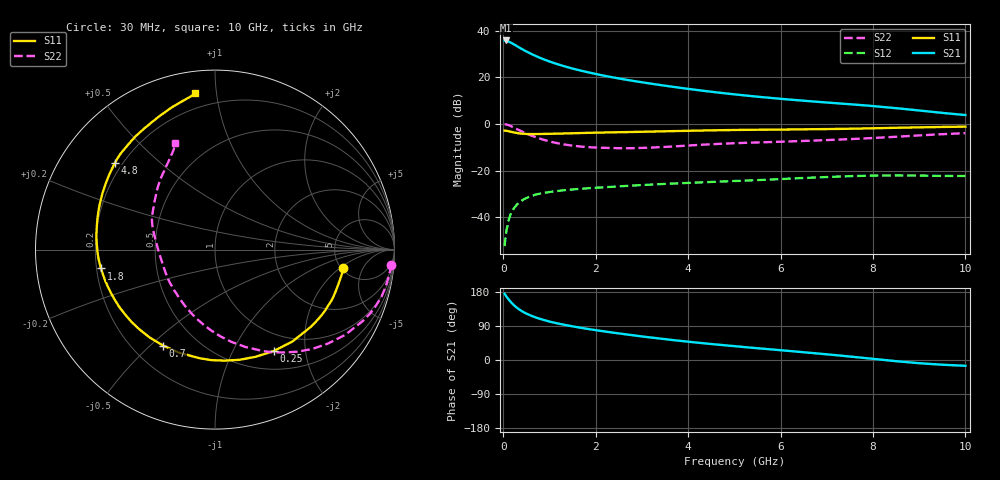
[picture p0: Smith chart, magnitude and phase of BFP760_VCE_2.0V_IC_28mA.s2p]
! Infineon Technologies  Discrete & RF Semiconductors
! BFP760
! VCE =  2.0 V,  IC =  28 mA
! Common Emitter S-Parameters:  Nov 2012
# GHz  S  MA  R  50
!  f  S11  S21  S12  S22
! GHz  MAG  ANG  MAG  ANG  MAG  ANG  MAG  ANG
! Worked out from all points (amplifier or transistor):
!   99 points, 30 MHz to 10 GHz, reference 50 ohm
!   highest |S21| = 35.8 dB at 50 MHz (marker M1)
!   |S21| within 3 dB of that: start of sweep to 344 MHz
!   unconditionally stable (mu >= 1): 4.268 GHz to end of sweep
!   at 350 MHz: K = 0.26, MSG = 33.2 dB, |S12| = -33.6 dB
!   at 3.5 GHz: K = 0.92, MSG = 21.1 dB, |S12| = -25.7 dB
!   at 10 GHz: K = 1.09, MAG = 11.3 dB, |S12| = -22.3 dB
!   S11 on the Smith chart (normalised r, x): 30 MHz: 5.19, -2.23; 250 MHz: 0.74, -1.46; 700 MHz: 0.32, -0.55; 1.8 GHz: 0.22, -0.08; 4.8 GHz: 0.17, +0.36; 10 GHz: 0.12, +0.87
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0.03  0.7214 -8.2  61.58 174.9  0.0024 82.8  0.9843 -4.9
0.05  0.7161 -13.5  61.76 170.8  0.0037 90.1  0.9796 -8.5
0.1  0.703 -26.5  59.46 162.5  0.0077 75.3  0.9558 -17.6
0.15  0.686 -38.8  56.47 155.0  0.011 71.6  0.9144 -25.8
0.2  0.6695 -50.0  53.07 148.4  0.0139 67.5  0.8673 -33.2
0.25  0.653 -60.0  49.75 142.6  0.0165 63.6  0.8192 -39.7
0.35  0.6289 -77.6  43.36 133.1  0.0208 57.4  0.7319 -51.0
0.45  0.6163 -91.9  38.13 125.7  0.0244 52.4  0.6577 -60.5
0.6  0.6082 -109.2  31.99 117.1  0.0283 46.7  0.5687 -72.6
0.7  0.6077 -118.4  28.78 112.4  0.0306 43.6  0.5222 -79.9
0.9  0.6122 -133.3  23.83 104.8  0.0335 39.3  0.4505 -92.8
1.1  0.6179 -144.7  20.22 98.6  0.0359 36.2  0.4009 -104.1
1.4  0.6286 -157.6  16.4 91.0  0.0386 33.6  0.3544 -118.5
1.7  0.6397 -167.7  13.77 84.6  0.0408 31.7  0.3261 -131.0
1.8  0.6441 -170.6  13.06 82.6  0.0416 31.4  0.3213 -134.9
2.5  0.6658 172.8  9.475 70.2  0.0459 29.5  0.3029 -158.0
3.4  0.6937 156.6  6.834 56.4  0.0513 28.0  0.3188 178.8
4.8  0.7378 139.0  4.539 38.8  0.0588 25.5  0.3792 157.4
5.1  0.7452 136.4  4.218 35.5  0.0604 25.0  0.3901 154.3
6.7  0.7722 124.4  3.042 18.4  0.0708 21.3  0.4402 139.1
8.5  0.8287 106.8  2.184 -3.1  0.079 11.1  0.5315 121.3
10  0.8768 97.2  1.553 -15.3  0.0767 6.7  0.6358 110.7
